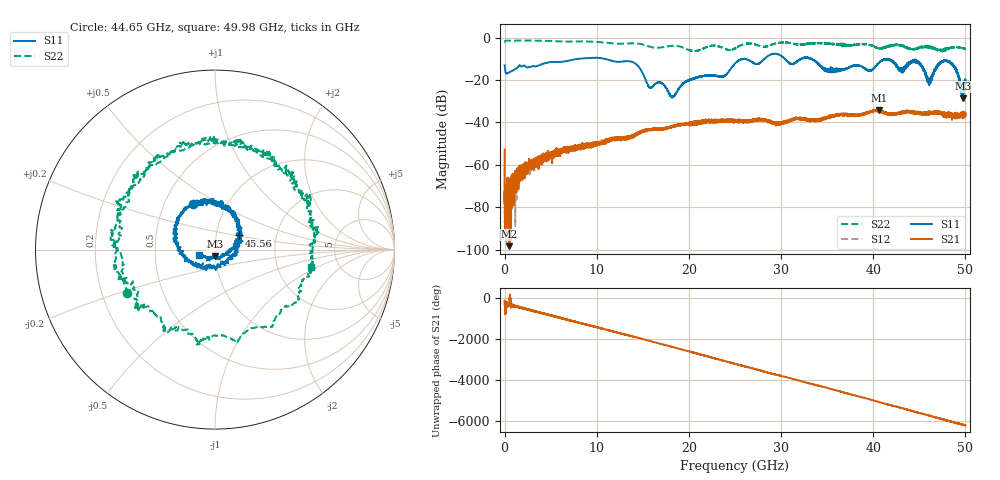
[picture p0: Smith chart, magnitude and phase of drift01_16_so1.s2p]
!Created with skrf (http://scikit-rf.org).
# Hz S RI R 50.0
!freq ReS11 ImS11 ReS21 ImS21 ReS12 ImS12 ReS22 ImS22
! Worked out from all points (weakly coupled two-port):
!   10001 points, 300 kHz to 50 GHz, reference 50 ohm
!   highest |S21| = -34.07 dB at 40.68 GHz (marker M1); lowest = -98.3 dB at 530.3 MHz (marker M2)
!   lowest |S11| = -28.7 dB at 49.72 GHz (marker M3), VSWR 1.08, Z = 50 - j3.68 ohm
!   |S11| at or under -10 dB: start of sweep to 8.053 GHz; 10.87 GHz to 25.98 GHz (15.11 GHz wide, 82 % of centre); 41.43 GHz to end of sweep (the widest 3 of 14)
!   |S22| runs from -6.6 to -1.4 dB; largest |S21 - S12| = 0.0044
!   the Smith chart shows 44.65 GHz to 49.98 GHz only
!   S11 on the Smith chart (normalised r, x): 44.65 GHz: 0.70, +0.38; 45.56 GHz: 1.30, +0.21; 49.98 GHz: 0.84, -0.06
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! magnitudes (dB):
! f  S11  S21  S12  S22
! 300 kHz  -13.1  -52.7  -62.2  -2.1
! 255.3 MHz  -16.9  -85.2  -85.9  -1.4
! 530.3 MHz  -16.3  -98.3  -67.9  -1.4
! 2.75 GHz  -13.9  -61.1  -64.4  -1.4
! 8.335 GHz  -9.9  -51.9  -51.4  -1.8
! 13.78 GHz  -11.4  -46.1  -46.6  -2.7
! 15.73 GHz  -23.6  -43.2  -43.5  -4.3
! 16.67 GHz  -21.1  -43.2  -43.4  -4.8
! 18.25 GHz  -27.8  -41.9  -41.7  -3.9
! 25 GHz  -12.2  -39.7  -39.0  -5.1
! 33.34 GHz  -10.2  -38.8  -38.8  -2.6
! 35.23 GHz  -14.7  -37.8  -37.4  -2.9
! 40.68 GHz  -11.8  -34.1  -34.7  -5.2
! 41.67 GHz  -10.4  -36.0  -36.0  -4.4
! 43.08 GHz  -15.1  -35.3  -35.5  -3.7
! 44.65 GHz  -11.1  -35.3  -35.4  -5.3
! 45.56 GHz  -16.1  -35.7  -35.7  -4.4
! 46.12 GHz  -19.7  -35.4  -35.2  -4.3
! 48.13 GHz  -11.2  -36.1  -36.5  -5.4
! 49.72 GHz  -28.7  -36.6  -37.0  -5.0
! 49.98 GHz  -20.5  -36.9  -35.6  -5.3
! 50 GHz  -20.9  -36.9  -37.0  -5.3
